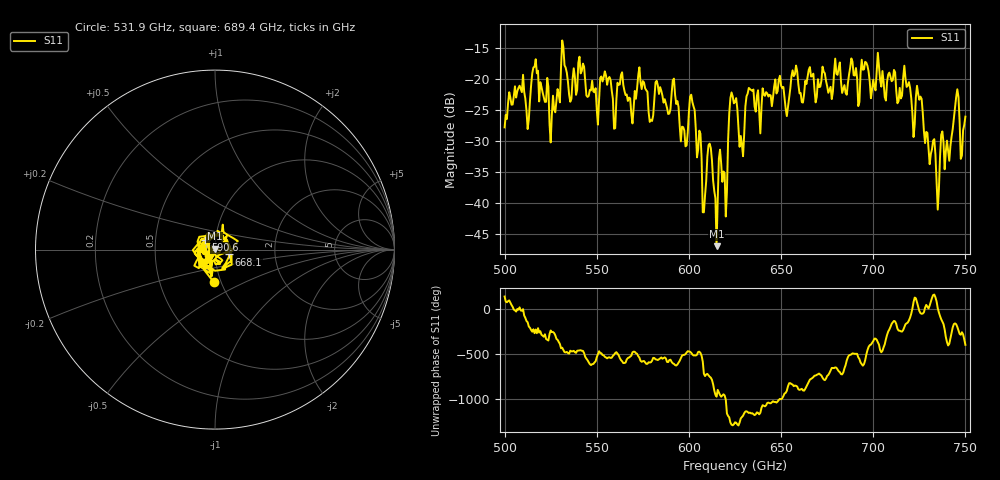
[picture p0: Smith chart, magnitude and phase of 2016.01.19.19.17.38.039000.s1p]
!Created with skrf (http://scikit-rf.org).
# GHz S RI R 50.0
!freq ReS11 ImS11
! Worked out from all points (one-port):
!   401 points, 500 GHz to 750 GHz, reference 50 ohm
!   lowest |S11| = -46.9 dB at 615 GHz (marker M1), VSWR 1.01, Z = 49.9 + j0.428 ohm
!   |S11| at or under -10 dB: start of sweep to end of sweep
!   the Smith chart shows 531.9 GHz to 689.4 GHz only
!   S11 on the Smith chart (normalised r, x): 531.9 GHz: 0.92, -0.34; 590.6 GHz: 0.89, +0.10; 668.1 GHz: 1.17, -0.06; 689.4 GHz: 0.85, -0.13
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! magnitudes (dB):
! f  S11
! 500 GHz  -27.8
! 512.5 GHz  -28.1
! 516.9 GHz  -16.8
! 525.6 GHz  -25.8
! 531.2 GHz  -13.8
! 531.9 GHz  -14.9
! 550 GHz  -24.9
! 562.5 GHz  -20.9
! 590.6 GHz  -22.3
! 593.8 GHz  -23.6
! 598.1 GHz  -30.9
! 601.9 GHz  -23.7
! 608.1 GHz  -41.5
! 611.2 GHz  -30.4
! 615 GHz  -46.9
! 619.4 GHz  -35.2
! 622.5 GHz  -23.1
! 625 GHz  -23.7
! 628.8 GHz  -30.5
! 632.5 GHz  -21.5
! 656.2 GHz  -18.6
! 668.1 GHz  -21.7
! 687.5 GHz  -18.2
! 689.4 GHz  -19.4
! 718.8 GHz  -21.1
! 735 GHz  -41.0
! 745 GHz  -22.9
! 750 GHz  -26.1
